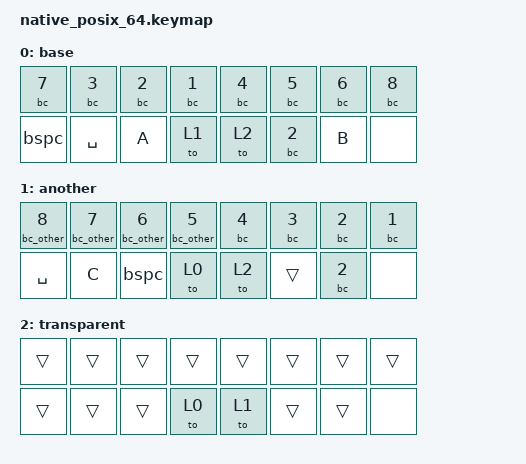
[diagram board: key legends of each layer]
/* SPDX-License-Identifier: MIT */
#include <behaviors.dtsi>
#include <behaviors/braille.dtsi>
#include <dt-bindings/zmk/keys.h>
#include <dt-bindings/zmk/kscan_mock.h>

/ {
    behaviors {
        bc_other: another_braille_dot {
            compatible = "zmk,behavior-braille-dot";
            #binding-cells = <1>;
        };
    };
    keymap {
        compatible = "zmk,keymap";
        base {
            bindings = <
                &bc 7 &bc 3 &bc 2 &bc 1 &bc 4 &bc 5 &bc 6 &bc 8
                &bspc &kp SPACE &kp A &to 1 &to 2 &bc 2 &kp B &none
            >;
        };
        another {
            bindings = <
                &bc_other 8 &bc_other 7 &bc_other 6 &bc_other 5 &bc 4 &bc 3 &bc 2 &bc 1
                &kp SPACE &kp C &bspc &to 0 &to 2 &trans &bc 2 &none
            >;
        };
        transparent {
            bindings = <
                &trans &trans &trans &trans &trans &trans &trans &trans
                &trans &trans &trans &to 0 &to 1 &trans &trans &none
            >;
        };
    };
};

#define TAP(row, col) ZMK_MOCK_PRESS(row, col, 10) ZMK_MOCK_RELEASE(row, col, 10)

&kscan {
    columns = <8>;
    events = <
        /* Every dot on BASE, Braille space, and ordinary Space/A. */
        TAP(0, 0) TAP(0, 1) TAP(0, 2) TAP(0, 3)
        TAP(0, 4) TAP(0, 5) TAP(0, 6) TAP(0, 7)
        TAP(1, 0) TAP(1, 1) TAP(1, 2)
        /* Conventional typing still passes through while a dot is held. */
        ZMK_MOCK_PRESS(0, 3, 10) TAP(1, 1) TAP(1, 2) ZMK_MOCK_RELEASE(0, 3, 10)
        /* Dot 1 release must not become layer 1's dot 5. */
        ZMK_MOCK_PRESS(0, 3, 10) TAP(1, 3) ZMK_MOCK_RELEASE(0, 3, 10)
        /* All dots on another layer, at different positions/instances. */
        TAP(0, 0) TAP(0, 1) TAP(0, 2) TAP(0, 3)
        TAP(0, 4) TAP(0, 5) TAP(0, 6) TAP(0, 7)
        /* Braille space release must not become conventional A. */
        ZMK_MOCK_PRESS(1, 2, 10) TAP(1, 3) ZMK_MOCK_RELEASE(1, 2, 10)
        /* Braille space release must not become conventional Space. */
        ZMK_MOCK_PRESS(1, 0, 10) TAP(1, 3) ZMK_MOCK_RELEASE(1, 0, 10)
        /* Conventional Space release must not join the Braille chord. */
        ZMK_MOCK_PRESS(1, 0, 10) TAP(1, 3) ZMK_MOCK_RELEASE(1, 0, 10)
        /* Conventional Space keeps its original usage, not layer 1's C. */
        ZMK_MOCK_PRESS(1, 1, 10) TAP(1, 3) ZMK_MOCK_RELEASE(1, 1, 10)
        /* Custom-instance dot 8 release must not become BASE's dot 7. */
        ZMK_MOCK_PRESS(0, 0, 10) TAP(1, 4) ZMK_MOCK_RELEASE(0, 0, 10)
        /* Transparent layers find the actual lower-layer Braille binding. */
        TAP(1, 5)
        TAP(1, 3) TAP(1, 6)
        /* Overlap, early release, late join, re-press, and space+dot capture. */
        ZMK_MOCK_PRESS(0, 3, 10) ZMK_MOCK_PRESS(0, 2, 10)
        ZMK_MOCK_RELEASE(0, 3, 10) ZMK_MOCK_PRESS(0, 1, 10)
        ZMK_MOCK_PRESS(0, 3, 10) ZMK_MOCK_RELEASE(0, 2, 10)
        ZMK_MOCK_RELEASE(0, 1, 10) ZMK_MOCK_PRESS(1, 0, 10)
        ZMK_MOCK_RELEASE(0, 3, 10) ZMK_MOCK_RELEASE(1, 0, 10)
        /* Two physical bindings for dot 2 must both release. */
        ZMK_MOCK_PRESS(0, 2, 10) ZMK_MOCK_PRESS(1, 5, 10)
        ZMK_MOCK_RELEASE(0, 2, 10) ZMK_MOCK_RELEASE(1, 5, 10)
        /* Chord survives a layer switch; newly reached bindings may join it. */
        ZMK_MOCK_PRESS(0, 3, 10) TAP(1, 3) ZMK_MOCK_PRESS(0, 0, 10)
        ZMK_MOCK_RELEASE(0, 3, 10) ZMK_MOCK_PRESS(1, 2, 10)
        ZMK_MOCK_RELEASE(0, 0, 10) ZMK_MOCK_RELEASE(1, 2, 10)
        TAP(1, 3)
    >;
};
